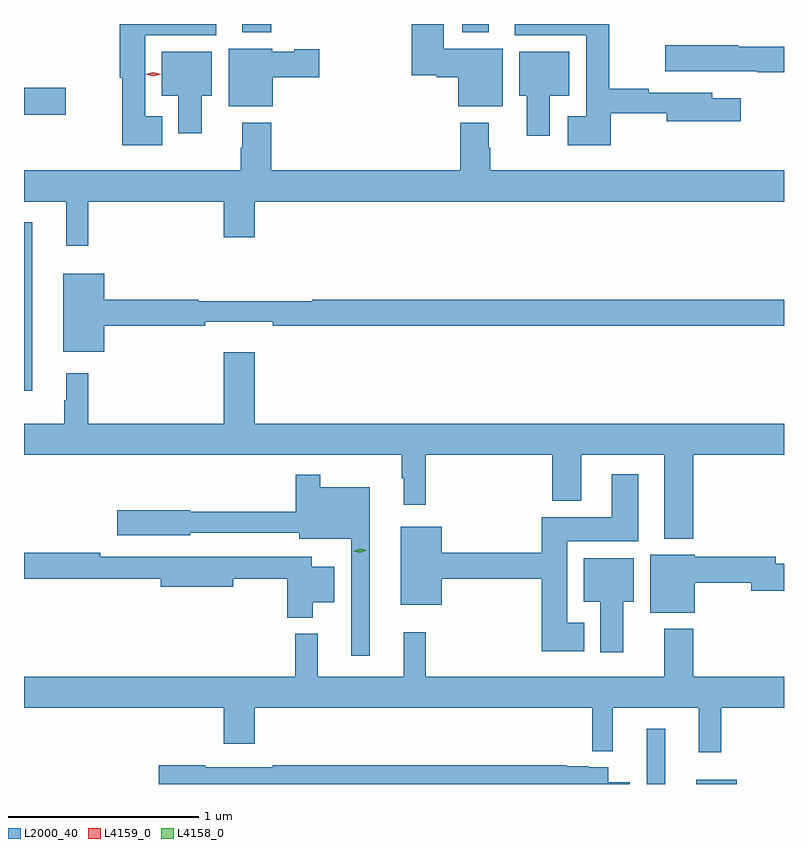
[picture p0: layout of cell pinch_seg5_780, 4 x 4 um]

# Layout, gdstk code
import gdstk
lib = gdstk.Library(unit=1e-6, precision=1e-09)
def R(c, l, rs):  # rectangles x0, y0, x1, y1
    for r in rs: c.add(gdstk.rectangle(r[:2], r[2:], *l))
def P(c, l, *ps):  # polygons
    for p in ps: c.add(gdstk.Polygon(p, *l))
L2000_40 = (2000, 40)
L4158_0 = (4158, 0)
L4159_0 = (4159, 0)

pinch_seg5_780 = lib.new_cell('pinch_seg5_780')
R(pinch_seg5_780, L2000_40, [(766.635,909.639,766.732,909.931), (766.895,909.639,767.11,909.661), (763.358,911.708,763.402,912.595), (763.358,913.162,763.579,913.304), (764.507,913.595,764.66,913.639), (765.665,913.595,765.805,913.639)])
P(pinch_seg5_780, L2000_40, [(765.877,913.51),(765.568,913.51),(765.568,913.639),(765.398,913.639),(765.398,913.37),(765.531,913.37),(765.531,913.358),(765.644,913.358),(765.644,913.205),(765.877,913.205)],
  [(764.086,913.153),(763.996,913.153),(763.996,913.58),(764.371,913.58),(764.371,913.639),(763.862,913.639),(763.862,913.355),(763.874,913.355),(763.874,913.001),(764.086,913.001)],
  [(766.446,913.17),(766.742,913.17),(766.742,913.127),(767.131,913.127),(767.131,913.249),(766.981,913.249),(766.981,913.278),(766.646,913.278),(766.646,913.298),(766.438,913.298),(766.438,913.639),(765.941,913.639),(765.941,913.58),(766.316,913.58),(766.316,913.153),(766.221,913.153),(766.221,913.001),(766.446,913.001)],
  [(767.358,913.52),(767.118,913.52),(767.118,913.526),(766.734,913.526),(766.734,913.391),(767.218,913.391),(767.218,913.384),(767.358,913.384)],
  [(764.668,913.358),(764.911,913.358),(764.911,913.505),(764.781,913.505),(764.781,913.492),(764.664,913.492),(764.664,913.51),(764.435,913.51),(764.435,913.205),(764.668,913.205)],
  [(766.126,913.262),(766.228,913.262),(766.228,913.492),(765.965,913.492),(765.965,913.262),(766.004,913.262),(766.004,913.05),(766.126,913.05)],
  [(764.293,913.262),(764.347,913.262),(764.347,913.492),(764.084,913.492),(764.084,913.262),(764.171,913.262),(764.171,913.065),(764.293,913.065)],
  [(763.697,912.704),(764.408,912.704),(764.408,912.516),(764.572,912.516),(764.572,912.704),(767.358,912.704),(767.358,912.868),(765.813,912.868),(765.813,912.989),(765.805,912.989),(765.805,913.12),(765.653,913.12),(765.653,912.868),(764.66,912.868),(764.66,913.12),(764.507,913.12),(764.507,912.989),(764.5,912.989),(764.5,912.868),(763.358,912.868),(763.358,912.704),(763.58,912.704),(763.58,912.471),(763.697,912.471)],
  [(763.78,912.052),(764.312,912.052),(764.312,912.071),(764.668,912.071),(764.668,912.052),(767.358,912.052),(767.358,912.188),(764.876,912.188),(764.876,912.181),(764.276,912.181),(764.276,912.188),(763.78,912.188),(763.78,912.325),(763.565,912.325),(763.565,911.915),(763.78,911.915)],
  [(766.88,911.372),(767.358,911.372),(767.358,911.536),(764.572,911.536),(764.572,911.911),(764.408,911.911),(764.408,911.536),(763.697,911.536),(763.697,911.8),(763.58,911.8),(763.58,911.66),(763.569,911.66),(763.569,911.536),(763.358,911.536),(763.358,911.372),(765.345,911.372),(765.345,911.249),(765.356,911.249),(765.356,911.109),(765.473,911.109),(765.473,911.372),(766.139,911.372),(766.139,911.129),(766.291,911.129),(766.291,911.372),(766.727,911.372),(766.727,910.931),(766.88,910.931)],
  [(766.306,910.489),(766.216,910.489),(766.216,910.916),(766.591,910.916),(766.591,911.269),(766.451,911.269),(766.451,911.044),(766.082,911.044),(766.082,910.856),(765.556,910.856),(765.556,910.993),(765.341,910.993),(765.341,910.583),(765.556,910.583),(765.556,910.72),(766.082,910.72),(766.082,910.337),(766.306,910.337)],
  [(765.178,911.2),(764.917,911.2),(764.917,911.266),(764.788,911.266),(764.788,911.071),(764.232,911.071),(764.232,911.079),(763.848,911.079),(763.848,910.949),(764.232,910.949),(764.232,910.962),(764.807,910.962),(764.807,910.931),(765.081,910.931),(765.081,910.314),(765.178,910.314)],
  [(764.878,910.595),(764.992,910.595),(764.992,910.783),(764.872,910.783),(764.872,910.836),(763.76,910.836),(763.76,910.856),(763.358,910.856),(763.358,910.72),(764.078,910.72),(764.078,910.678),(764.458,910.678),(764.458,910.72),(764.744,910.72),(764.744,910.514),(764.878,910.514)],
  [(766.888,910.699),(767.186,910.699),(767.186,910.657),(767.358,910.657),(767.358,910.799),(767.314,910.799),(767.314,910.835),(766.888,910.835),(766.888,910.846),(766.655,910.846),(766.655,910.541),(766.888,910.541)],
  [(766.513,910.598),(766.567,910.598),(766.567,910.828),(766.304,910.828),(766.304,910.598),(766.391,910.598),(766.391,910.332),(766.513,910.332)],
  [(765.473,910.438),(765.356,910.438),(765.356,910.204),(764.903,910.204),(764.903,910.429),(764.785,910.429),(764.785,910.204),(763.358,910.204),(763.358,910.04),(764.408,910.04),(764.408,909.852),(764.572,909.852),(764.572,910.04),(766.348,910.04),(766.348,909.811),(766.457,909.811),(766.457,910.04),(766.91,910.04),(766.91,909.807),(767.027,909.807),(767.027,910.04),(767.358,910.04),(767.358,910.204),(766.88,910.204),(766.88,910.456),(766.727,910.456),(766.727,910.204),(765.473,910.204)],
  [(766.546,909.649),(766.432,909.649),(766.432,909.726),(766.328,909.726),(766.328,909.732),(766.214,909.732),(766.214,909.739),(764.668,909.739),(764.668,909.726),(764.312,909.726),(764.312,909.739),(764.066,909.739),(764.066,909.639),(766.546,909.639)])
P(pinch_seg5_780, L4158_0, [(765.128,910.856),(765.092,910.863),(765.091,910.863),(765.092,910.864),(765.126,910.876),(765.162,910.869),(765.163,910.868),(765.162,910.868)])
P(pinch_seg5_780, L4159_0, [(764.039,913.365),(763.998,913.375),(763.998,913.375),(763.998,913.375),(764.039,913.385),(764.08,913.374),(764.08,913.374),(764.08,913.374)])

lib.write_gds('pinch_seg5_780.gds')
